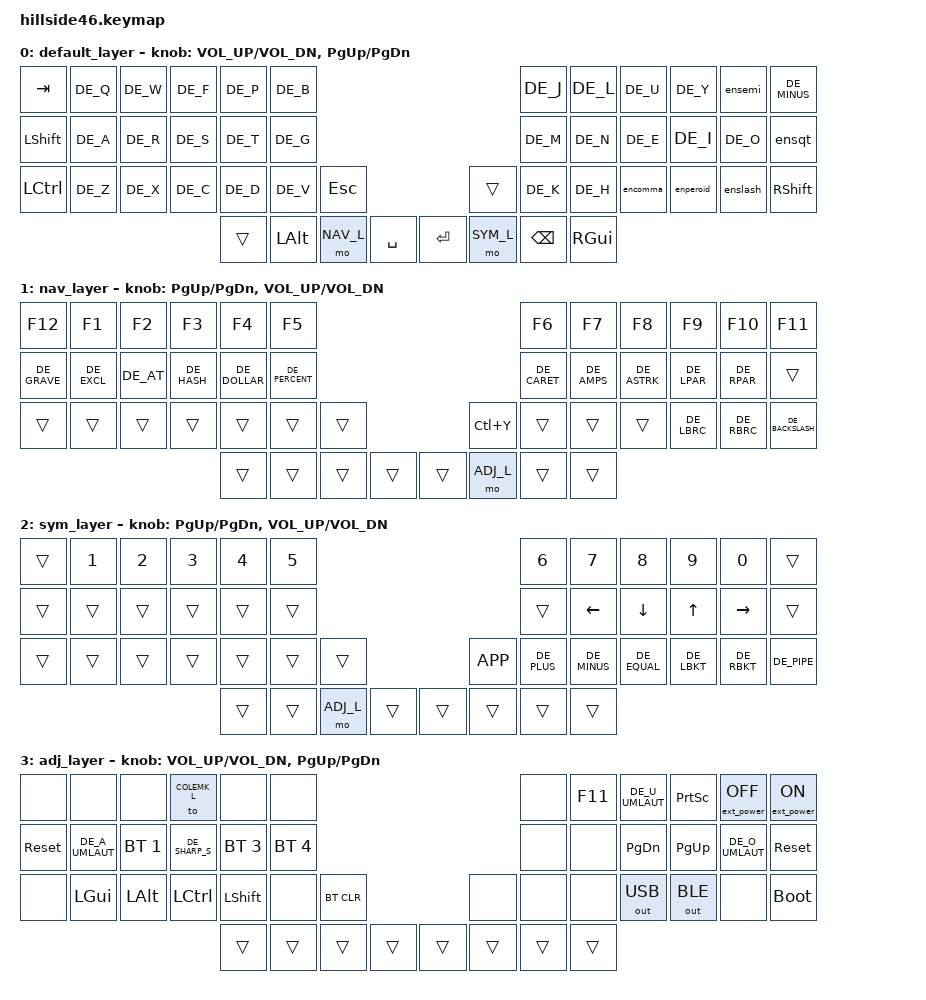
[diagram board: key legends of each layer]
/*
 * Copyright (c) 2021-2022 The ZMK Contributors
 *
 * SPDX-License-Identifier: MIT
 */

#include <behaviors.dtsi>
#include <dt-bindings/zmk/bt.h>
#include <dt-bindings/zmk/ext_power.h>
#include <dt-bindings/zmk/keys.h>
#include <dt-bindings/zmk/outputs.h>
#include "keys_de.h"

#define COLEMK_L 0
#define NAV_L    1
#define SYM_L    2
#define ADJ_L    3

#define Undo   LC(Z)
#define Cut    LC(X)
#define Copy   LC(C)
#define Paste  LC(V)
#define Redo   LC(Y)


/ {
        keymap {
                compatible = "zmk,keymap";

                default_layer {
                        bindings = <
&kp  TAB      &kp  DE_Q     &kp  DE_W     &kp  DE_F     &kp  DE_P     &kp  DE_B                                                                      &kp DE_J      &kp DE_L     &kp  DE_U     &kp  DE_Y     &ensemi       &kp  DE_MINUS
&kp  LSHFT    &kp  DE_A     &kp  DE_R     &kp  DE_S     &kp  DE_T     &kp  DE_G                                                                      &kp DE_M      &kp DE_N     &kp  DE_E     &kp  DE_I     &kp  DE_O     &ensqt
&kp  LCTRL    &kp  DE_Z     &kp  DE_X     &kp  DE_C     &kp  DE_D     &kp  DE_V     &kp   ESC                                          &trans        &kp DE_K      &kp DE_H     &encomma      &enperoid     &enslash      &kp  RSHFT
                                                        &trans        &kp  LALT     &mo   NAV_L    &kp  SPACE            &kp  ENTER    &mo  SYM_L    &kp  BSPC     &kp  RGUI
                        >;
                        sensor-bindings = <&inc_dec_kp C_VOL_UP C_VOL_DN &inc_dec_kp PG_UP PG_DN>;
                };

                nav_layer {
                        bindings = <
&kp  F12      &kp  F1       &kp  F2       &kp  F3       &kp  F4        &kp  F5                                                                        &kp   F6      &kp  F7      &kp   F8       &kp   F9      &kp  F10      &kp F11
&kp  DE_GRAVE &kp  DE_EXCL  &kp  DE_AT    &kp  DE_HASH  &kp  DE_DOLLAR &kp  DE_PERCENT                                                                &kp  DE_CARET &kp  DE_AMPS &kp   DE_ASTRK &kp   DE_LPAR &kp  DE_RPAR  &trans
&trans        &trans        &trans        &trans        &trans         &trans        &trans                                             &kp  Redo     &trans        &trans       &trans         &kp   DE_LBRC &kp  DE_RBRC  &kp DE_BACKSLASH 
                                                        &trans         &trans        &trans        &trans                 &trans        &mo  ADJ_L    &trans        &trans 
                        >;
                        sensor-bindings = <&inc_dec_kp PG_UP PG_DN &inc_dec_kp C_VOL_UP C_VOL_DN>;
                };


                sym_layer {
                        bindings = <
&trans        &kp  N1       &kp  N2       &kp  N3       &kp  N4       &kp  N5                                                                        &kp  N6       &kp  N7       &kp  N8       &kp  N9       &kp  N0       &trans
&trans        &trans        &trans        &trans        &trans        &trans                                                                         &trans        &kp  LEFT     &kp  DOWN     &kp  UP       &kp  RIGHT    &trans
&trans        &trans        &trans        &trans        &trans        &trans        &trans                                             &kp K_APP     &kp  DE_PLUS  &kp  DE_MINUS &kp  DE_EQUAL &kp  DE_LBKT  &kp  DE_RBKT  &kp DE_PIPE
                                                        &trans        &trans        &mo  ADJ_L        &trans              &trans       &trans        &trans        &trans
                        >;
                        sensor-bindings = <&inc_dec_kp PG_UP PG_DN &inc_dec_kp C_VOL_UP C_VOL_DN>;
                };

                adj_layer {
                        bindings = <
&none         &none         &none         &to  COLEMK_L &none         &none                                                                          &none         &kp   F11     &kp  DE_U_UMLAUT      &kp PRINTSCREEN   &ext_power EP_OFF  &ext_power EP_ON
&sys_reset    &kp DE_A_UMLAUT     &bt  BT_SEL 1 &kp  DE_SHARP_S    &bt  BT_SEL 3 &bt  BT_SEL 4                                                       &none         &none         &kp  PG_DN            &kp PG_UP         &kp  DE_O_UMLAUT   &sys_reset
&none         &kp  LGUI     &kp  LALT     &kp  LCTRL    &kp LSHIFT    &none         &bt BT_CLR                                         &none         &none         &none         &out OUT_USB          &out  OUT_BLE     &none              &bootloader
                                                        &trans        &trans        &trans        &trans                 &trans        &trans        &trans        &trans 
                        >;
                        sensor-bindings = <&inc_dec_kp C_VOL_UP C_VOL_DN &inc_dec_kp PG_UP PG_DN>;
                };
        };

        behaviors {
              ensqt: en_quote {
                    compatible = "zmk,behavior-mod-morph";
                    #binding-cells = <0>;
                    bindings = <&kp DE_SQT>, <&kp DE_DQT>;
                    mods = <(MOD_LSFT|MOD_RSFT)>;
              };
              ensemi: en_semi {
                    compatible = "zmk,behavior-mod-morph";
                    #binding-cells = <0>;
                    bindings = <&kp DE_SEMI>, <&kp DE_COLON>;
                    mods = <(MOD_LSFT|MOD_RSFT)>;
              };
              enslash: en_slash {
                    compatible = "zmk,behavior-mod-morph";
                    #binding-cells = <0>;
                    bindings = <&kp DE_SLASH>, <&kp DE_QUESTION>;
                    mods = <(MOD_LSFT|MOD_RSFT)>;
              };
              enperoid: en_period {
                    compatible = "zmk,behavior-mod-morph";
                    #binding-cells = <0>;
                    bindings = <&kp DE_PERIOD>, <&kp DE_GT>;
                    mods = <(MOD_LSFT|MOD_RSFT)>;
              };
              encomma: en_comma {
                    compatible = "zmk,behavior-mod-morph";
                    #binding-cells = <0>;
                    bindings = <&kp DE_COMMA>, <&kp DE_LT>;
                    mods = <(MOD_LSFT|MOD_RSFT)>;
              };
        };
};
